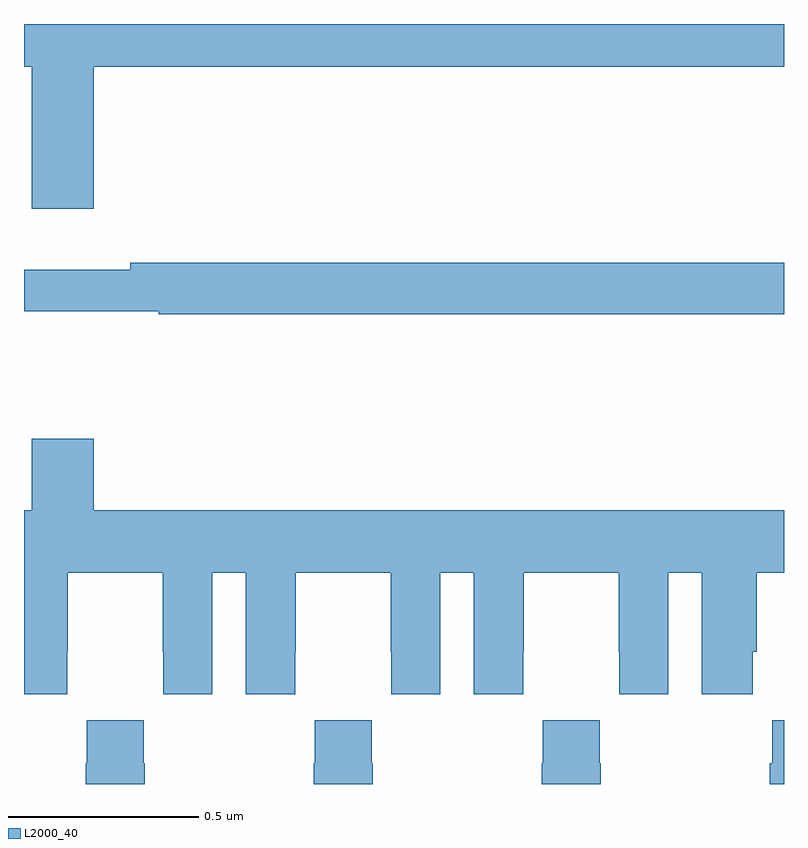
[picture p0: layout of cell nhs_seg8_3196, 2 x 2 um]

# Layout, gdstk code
import gdstk
lib = gdstk.Library(unit=1e-6, precision=1e-09)
def P(c, l, *ps):  # polygons
    for p in ps: c.add(gdstk.Polygon(p, *l))
L2000_40 = (2000, 40)

nhs_seg8_3196 = lib.new_cell('nhs_seg8_3196')
P(nhs_seg8_3196, L2000_40, [(153.184,1161.788),(155,1161.788),(155,1161.9),(153,1161.9),(153,1161.788),(153.02,1161.788),(153.02,1161.414),(153.184,1161.414)],
  [(155,1161.272),(153.28,1161.272),(153.28,1161.253),(153,1161.253),(153,1161.144),(153.355,1161.144),(153.355,1161.136),(155,1161.136)],
  [(153.114,1160.248),(153.115,1160.248),(153.115,1160.456),(153.365,1160.456),(153.365,1160.248),(153.366,1160.248),(153.366,1160.136),(153.496,1160.136),(153.496,1160.456),(153.584,1160.456),(153.584,1160.136),(153.714,1160.136),(153.714,1160.248),(153.715,1160.248),(153.715,1160.456),(153.965,1160.456),(153.965,1160.248),(153.966,1160.248),(153.966,1160.136),(154.096,1160.136),(154.096,1160.456),(154.184,1160.456),(154.184,1160.136),(154.314,1160.136),(154.314,1160.248),(154.315,1160.248),(154.315,1160.456),(154.565,1160.456),(154.565,1160.248),(154.566,1160.248),(154.566,1160.136),(154.696,1160.136),(154.696,1160.456),(154.784,1160.456),(154.784,1160.136),(154.918,1160.136),(154.918,1160.248),(154.928,1160.248),(154.928,1160.456),(155,1160.456),(155,1160.62),(153.184,1160.62),(153.184,1160.809),(153.02,1160.809),(153.02,1160.62),(153,1160.62),(153,1160.136),(153.114,1160.136)],
  [(153.318,1159.955),(153.315,1159.955),(153.315,1160.068),(153.165,1160.068),(153.165,1159.955),(153.163,1159.955),(153.163,1159.9),(153.318,1159.9)],
  [(153.918,1159.955),(153.915,1159.955),(153.915,1160.068),(153.765,1160.068),(153.765,1159.955),(153.763,1159.955),(153.763,1159.9),(153.918,1159.9)],
  [(154.518,1159.955),(154.515,1159.955),(154.515,1160.068),(154.365,1160.068),(154.365,1159.955),(154.363,1159.955),(154.363,1159.9),(154.518,1159.9)],
  [(155,1160.068),(154.969,1160.068),(154.969,1159.955),(154.963,1159.955),(154.963,1159.9),(155,1159.9)])

lib.write_gds('nhs_seg8_3196.gds')
